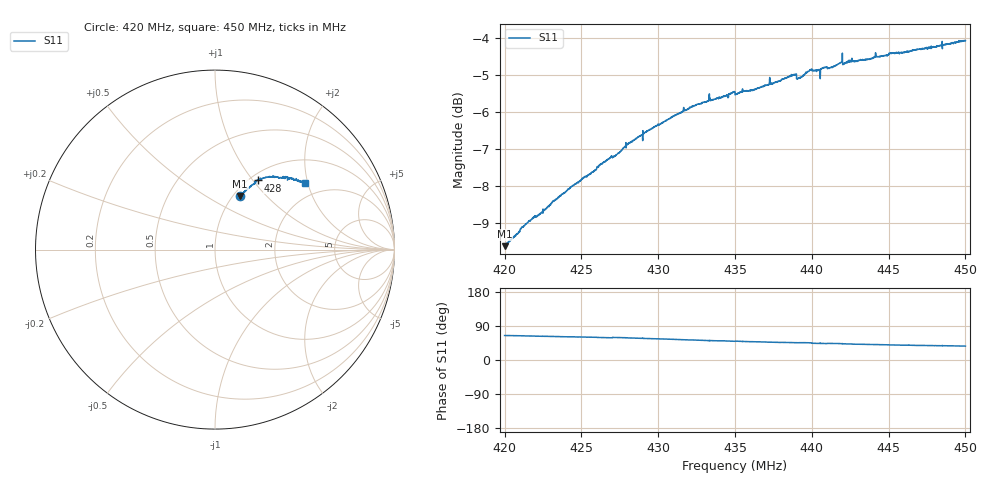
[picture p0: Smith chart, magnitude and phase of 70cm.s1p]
! Calibrated averaged scanner-service zoom
# Hz S RI R 50
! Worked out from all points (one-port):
!   3001 points, 420 MHz to 450 MHz, reference 50 ohm
!   lowest |S11| = -9.6 dB at 420 MHz (marker M1), VSWR 1.98, Z = 53.9 + j36 ohm
!   |S11| at or under -10 dB: nowhere
!   S11 on the Smith chart (normalised r, x): 420 MHz: 1.08, +0.72; 428 MHz: 1.09, +1.06; 450 MHz: 1.57, +1.93
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4.2e8  0.1414 0.2983
4.2002e8  0.1408 0.2981
4.215e8  0.1582 0.3175
4.2375e8  0.1842 0.3414
4.2569e8  0.2068 0.3604
4.2685e8  0.2254 0.3707
4.2716e8  0.2217 0.3755
4.275e8  0.2268 0.3797
4.2801e8  0.238 0.3856
4.3125e8  0.2911 0.4028
4.3336e8  0.3279 0.4068
4.35e8  0.3471 0.4048
4.3744e8  0.3731 0.3989
4.3875e8  0.3911 0.4031
4.3888e8  0.3938 0.4018
4.3916e8  0.3889 0.3974
4.3939e8  0.3907 0.4003
4.3985e8  0.4005 0.4055
4.4016e8  0.41 0.396
4.4085e8  0.4177 0.3966
4.4117e8  0.4144 0.398
4.4184e8  0.4249 0.4
4.4216e8  0.4296 0.3946
4.425e8  0.4352 0.3927
4.4385e8  0.4463 0.3883
4.4516e8  0.4628 0.384
4.4625e8  0.469 0.381
4.5e8  0.5017 0.3733
